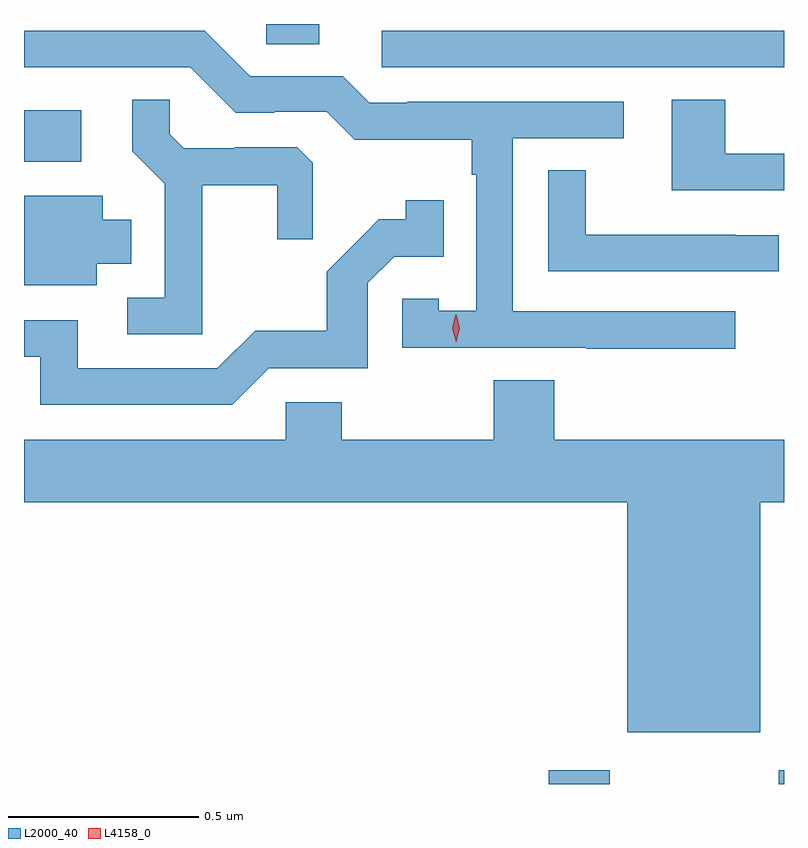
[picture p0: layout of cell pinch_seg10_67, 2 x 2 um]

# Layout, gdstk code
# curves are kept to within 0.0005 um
import gdstk
lib = gdstk.Library(unit=1e-6, precision=1e-09)
def R(c, l, rs):  # rectangles x0, y0, x1, y1
    for r in rs: c.add(gdstk.rectangle(r[:2], r[2:], *l))
def P(c, l, *ps):  # polygons
    for p in ps: c.add(gdstk.Polygon(p, *l))
L2000_40 = (2000, 40)
L4158_0 = (4158, 0)

pinch_seg10_67 = lib.new_cell('pinch_seg10_67')
R(pinch_seg10_67, L2000_40, [(835.361,1319.554,835.521,1319.59), (835.966,1319.554,835.98,1319.59), (833.98,1321.191,834.13,1321.327), (834.921,1321.44,835.98,1321.536), (834.618,1321.501,834.757,1321.554)])
P(pinch_seg10_67, L2000_40, [(835.852,1320.798),(835.266,1320.798),(835.266,1321.254),(835.558,1321.254),(835.558,1321.35),(834.988,1321.35),(834.988,1321.347),(834.888,1321.347),(834.819,1321.416),(834.576,1321.416),(834.456,1321.536),(833.98,1321.536),(833.98,1321.44),(834.417,1321.44),(834.537,1321.32),(834.638,1321.32),(834.638,1321.323),(834.777,1321.323),(834.85,1321.25),(835.158,1321.25),(835.158,1321.157),(835.17,1321.157),(835.17,1320.799),(835.071,1320.799),(835.071,1320.831),(834.975,1320.831),(834.975,1320.702),(835.459,1320.702),(835.459,1320.7),(835.852,1320.7)],
  [(835.98,1321.212),(835.825,1321.212),(835.825,1321.355),(835.685,1321.355),(835.685,1321.116),(835.98,1321.116)],
  [(834.449,1321.13),(834.646,1321.13),(834.646,1320.987),(834.74,1320.987),(834.74,1321.189),(834.699,1321.23),(834.534,1321.23),(834.534,1321.227),(834.4,1321.227),(834.363,1321.264),(834.363,1321.355),(834.265,1321.355),(834.265,1321.219),(834.351,1321.133),(834.351,1320.834),(834.252,1320.834),(834.252,1320.738),(834.449,1320.738)],
  [(835.966,1320.998),(835.853,1320.998),(835.853,1320.999),(835.458,1320.999),(835.458,1321.169),(835.359,1321.169),(835.359,1320.903),(835.966,1320.903)],
  [(834.172,1320.923),(834.262,1320.923),(834.262,1321.039),(834.187,1321.039),(834.187,1321.102),(833.981,1321.102),(833.981,1320.866),(834.172,1320.866)],
  [(834.624,1320.648),(834.885,1320.648),(834.885,1320.873),(834.954,1320.942),(835.085,1320.942),(835.085,1321.09),(834.984,1321.09),(834.984,1321.04),(834.914,1321.04),(834.777,1320.902),(834.777,1320.747),(834.588,1320.747),(834.489,1320.648),(834.121,1320.648),(834.121,1320.774),(833.98,1320.774),(833.98,1320.678),(834.023,1320.678),(834.023,1320.552),(834.528,1320.552)],
  [(835.918,1320.296),(835.98,1320.296),(835.98,1320.46),(835.376,1320.46),(835.376,1320.617),(835.216,1320.617),(835.216,1320.46),(834.816,1320.46),(834.816,1320.558),(834.669,1320.558),(834.669,1320.46),(833.98,1320.46),(833.98,1320.296),(835.568,1320.296),(835.568,1319.69),(835.918,1319.69)])
P(pinch_seg10_67, L4158_0, [(835.118,1320.717),(835.118,1320.717),(835.107,1320.753),(835.116,1320.789),(835.117,1320.789),(835.117,1320.789),(835.127,1320.753),(835.118,1320.717)])

lib.write_gds('pinch_seg10_67.gds')
